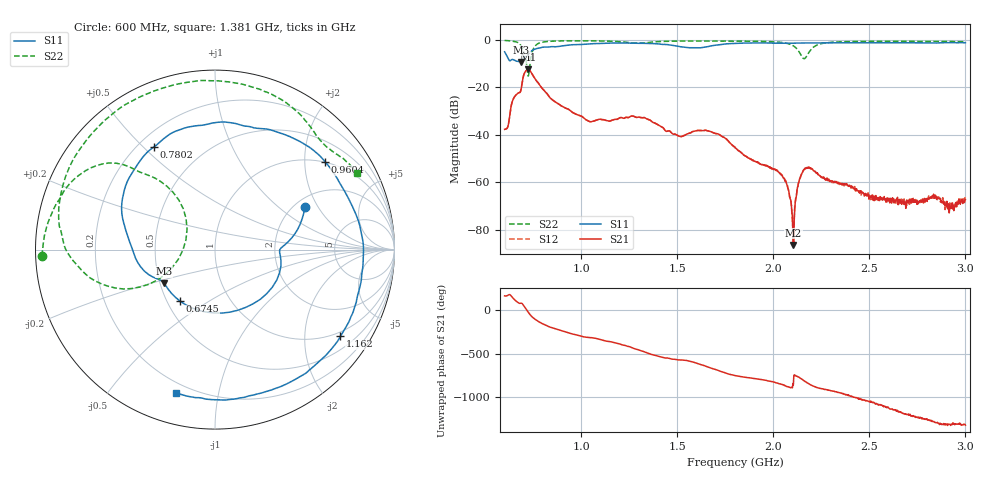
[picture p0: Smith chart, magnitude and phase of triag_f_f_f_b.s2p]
#  HZ  S  RI  R  50.00
! Rohde & Schwarz ZVB8 2Ports - Version 2.81 - 1145.1010k08 SN: 100113
! Date: 2016-05-03 01:38:31
! Measurements: S11 S21 S12 S22
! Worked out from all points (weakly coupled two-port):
!   1000 points, 600 MHz to 3 GHz, reference 50 ohm
!   highest |S21| = -12.54 dB at 722.5 MHz (marker M1); lowest = -86.5 dB at 2.104 GHz (marker M2)
!   lowest |S11| = -9.4 dB at 686.5 MHz (marker M3), VSWR 2.03, Z = 26.3 - j11.1 ohm
!   |S11| at or under -10 dB: nowhere
!   |S22| runs from -15.4 to -0.3 dB; largest |S21 - S12| = 0.0044
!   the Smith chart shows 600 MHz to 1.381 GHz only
!   S11 on the Smith chart (normalised r, x): 600 MHz: 2.28, +1.55; 674.5 MHz: 0.58, -0.38; 780.2 MHz: 0.26, +0.54; 960.4 MHz: 0.99, +2.52; 1.162 GHz: 0.86, -2.98; 1.381 GHz: 0.15, -0.75
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6e8  0.5016 0.2364  -0.0126 0.00261  -0.0127 0.00255  -0.9626 -0.0359
6.432432e8  0.3199 -0.2089  -0.0434 0.0323  -0.0433 0.032  -0.8989 0.2261
6.744745e8  -0.1946 -0.287  0.0064 0.0761  0.00645 0.0762  -0.7183 0.4412
6.864865e8  -0.2841 -0.1873  0.00973 0.0926  0.00881 0.0924  -0.5495 0.4812
7.225225e8  -0.4899 0.085  0.2244 -0.0733  0.2244 -0.0725  -0.1617 0.0547
7.441441e8  -0.5103 0.3087  0.0471 -0.1798  0.0478 -0.1793  -0.5122 -0.2194
7.801802e8  -0.3395 0.5728  -0.0775 -0.0846  -0.0767 -0.0845  -0.8456 0.0467
9.603604e8  0.6137 0.4887  0.00188 0.0284  0.00175 0.0284  -0.5062 0.804
1.001201e9  0.7284 0.3137  0.011 0.0217  0.0109 0.0218  -0.3587 0.876
1.162162e9  0.6991 -0.4829  0.0203 -0.00152  0.0201 -0.0015  0.2644 0.8865
1.380781e9  -0.2195 -0.7977  -0.0158 -0.00763  -0.0159 -0.00765  0.7927 0.427
1.4e9  -0.2968 -0.7598  -0.0156 -0.00383  -0.0155 -0.00387  0.8359 0.3638
1.575375e9  -0.5962 -0.3146  -0.00741 0.00866  -0.00745 0.0086  0.8843 -0.3115
1.801201e9  -0.7851 0.2853  0.00461 -0.00266  0.00459 -0.00254  0.3132 -0.8747
2.041441e9  -0.1049 0.8359  -0.000899 -0.00112  -0.000912 -0.00106  -0.4912 -0.7247
2.103904e9  0.1276 0.836  -3.57e-05 -3.08e-05  -7.06e-05 -3.91e-05  -0.5939 -0.4441
2.144745e9  0.2878 0.8038  0.000595 -0.00129  0.000625 -0.00126  -0.3927 -0.2524
2.2e9  0.4888 0.6999  -0.00151 -0.00116  -0.00154 -0.00115  -0.2638 -0.5924
2.401802e9  0.8621 -0.0314  -6.05e-05 0.000787  -5.48e-05 0.000771  -0.8603 -0.3065
2.601201e9  0.4607 -0.7284  0.000319 -0.000294  0.000279 -0.000324  -0.9064 0.1787
2.786186e9  -0.2243 -0.8299  -0.000451 -5.3e-05  -0.000441 -4.07e-05  -0.7197 0.5685
3e9  -0.7807 -0.3668  -0.000214 0.00037  -0.000275 0.000344  -0.3159 0.8513
